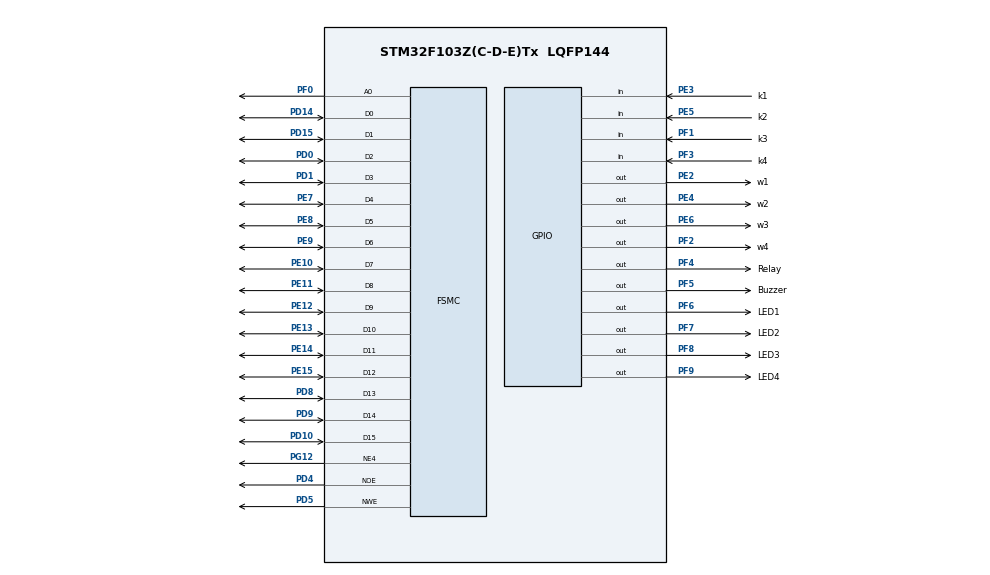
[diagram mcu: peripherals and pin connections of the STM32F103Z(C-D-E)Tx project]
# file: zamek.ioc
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FREERTOS.BinarySemaphores01=znak_licznik,Dynamic,NULL;Enter,Dynamic,NULL;SERWIS,Dynamic,NULL;PIN_tooShort,Dynamic,NULL;alarm,Dynamic,NULL;PIN_correct,Dynamic,NULL
FREERTOS.Queues01=PIN_znak,1,uint8_t,0,Dynamic,NULL,NULL
FREERTOS.Tasks01=defaultTask,0,128,StartDefaultTask,Default,NULL,Dynamic,NULL,NULL;wyswietlanie,2,128,StartTask02,Default,NULL,Dynamic,NULL,NULL;zarzadca,-3,128,StartTask03,Default,NULL,Dynamic,NULL,NULL;peryferia,-3,128,StartTask04,Default,NULL,Dynamic,NULL,NULL;serwis,-3,128,StartTask05,Default,NULL,Dynamic,NULL,NULL
FREERTOS.configENABLE_BACKWARD_COMPATIBILITY=0
FREERTOS.configIDLE_SHOULD_YIELD=0
FREERTOS.configTIMER_TASK_PRIORITY=1
FREERTOS.configTOTAL_HEAP_SIZE=4096
FREERTOS.configUSE_COUNTING_SEMAPHORES=1
FREERTOS.configUSE_PREEMPTION=0
FREERTOS.configUSE_TASK_NOTIFICATIONS=0
FREERTOS.configUSE_TIMERS=1
Mcu.Family=STM32F1
Mcu.Name=STM32F103Z(C-D-E)Tx
Mcu.Package=LQFP144
NVIC.PriorityGroup=NVIC_PRIORITYGROUP_4
NVIC.TIM6_IRQn=true\:5\:0\:false\:false\:true\:true\:true\:true\:true
OSC_IN.Mode=HSE-External-Oscillator
OSC_IN.Signal=RCC_OSC_IN
OSC_OUT.Mode=HSE-External-Oscillator
OSC_OUT.Signal=RCC_OSC_OUT
PA4.Signal=COMP_DAC1_group
PD0.Signal=FSMC_D2_DA2
PD1.Signal=FSMC_D3_DA3
PD10.Signal=FSMC_D15_DA15
PD14.Signal=FSMC_D0_DA0
PD15.Signal=FSMC_D1_DA1
PD4.Signal=FSMC_NOE
PD5.Signal=FSMC_NWE
PD8.Signal=FSMC_D13_DA13
PD9.Signal=FSMC_D14_DA14
PE10.Signal=FSMC_D7_DA7
PE11.Signal=FSMC_D8_DA8
PE12.Signal=FSMC_D9_DA9
PE13.Signal=FSMC_D10_DA10
PE14.Signal=FSMC_D11_DA11
PE15.Signal=FSMC_D12_DA12
PE2.GPIO_Label=w1
PE2.GPIO_ModeDefaultOutputPP=GPIO_MODE_OUTPUT_OD
PE2.GPIO_PuPd=GPIO_NOPULL
PE2.Signal=GPIO_Output
PE3.GPIO_Label=k1
PE3.GPIO_PuPd=GPIO_PULLUP
PE3.Signal=GPIO_Input
PE4.GPIO_Label=w2
PE4.GPIO_ModeDefaultOutputPP=GPIO_MODE_OUTPUT_OD
PE4.GPIO_PuPd=GPIO_NOPULL
PE4.Signal=GPIO_Output
PE5.GPIO_Label=k2
PE5.GPIO_PuPd=GPIO_PULLUP
PE5.Signal=GPIO_Input
PE6.GPIO_Label=w3
PE6.GPIO_ModeDefaultOutputPP=GPIO_MODE_OUTPUT_OD
PE6.GPIO_PuPd=GPIO_NOPULL
PE6.Signal=GPIO_Output
PE7.Signal=FSMC_D4_DA4
PE8.Signal=FSMC_D5_DA5
PE9.Signal=FSMC_D6_DA6
PF0.Signal=FSMC_A0
PF1.GPIO_Label=k3
PF1.GPIO_PuPd=GPIO_PULLUP
PF1.Signal=GPIO_Input
PF2.GPIO_Label=w4
PF2.GPIO_ModeDefaultOutputPP=GPIO_MODE_OUTPUT_OD
PF2.GPIO_PuPd=GPIO_NOPULL
PF2.Signal=GPIO_Output
PF3.GPIO_Label=k4
PF3.GPIO_PuPd=GPIO_PULLUP
PF3.Signal=GPIO_Input
PF4.GPIO_Label=Relay
PF4.GPIO_ModeDefaultOutputPP=GPIO_MODE_OUTPUT_OD
PF4.GPIO_PuPd=GPIO_NOPULL
PF4.PinState=GPIO_PIN_SET
PF4.Signal=GPIO_Output
PF5.GPIO_Label=Buzzer
PF5.Signal=GPIO_Output
PF6.GPIO_Label=LED1
PF6.Signal=GPIO_Output
PF7.GPIO_Label=LED2
PF7.Signal=GPIO_Output
PF8.GPIO_Label=LED3
PF8.Signal=GPIO_Output
PF9.GPIO_Label=LED4
PF9.Signal=GPIO_Output
PG12.Mode=NorPsramChipSelect4_3
PG12.Signal=FSMC_NE4
ProjectManager.HeapSize=0x200
ProjectManager.StackSize=0x400
ProjectManager.TargetToolchain=MDK-ARM V5.32
RCC.APB1Freq_Value=8000000
RCC.APB2Freq_Value=8000000
RCC.PLLSourceVirtual=RCC_PLLSOURCE_HSE
RCC.SYSCLKSource=RCC_SYSCLKSOURCE_HSE
RCC.USBFreq_Value=16000000
SH.COMP_DAC1_group.0=DAC_OUT1
SH.FSMC_A0.0=FSMC_A0,A0_3
SH.FSMC_D0_DA0.0=FSMC_D0,16b-d3
SH.FSMC_D10_DA10.0=FSMC_D10,16b-d3
SH.FSMC_D11_DA11.0=FSMC_D11,16b-d3
SH.FSMC_D12_DA12.0=FSMC_D12,16b-d3
SH.FSMC_D13_DA13.0=FSMC_D13,16b-d3
SH.FSMC_D14_DA14.0=FSMC_D14,16b-d3
SH.FSMC_D15_DA15.0=FSMC_D15,16b-d3
SH.FSMC_D1_DA1.0=FSMC_D1,16b-d3
SH.FSMC_D2_DA2.0=FSMC_D2,16b-d3
SH.FSMC_D3_DA3.0=FSMC_D3,16b-d3
SH.FSMC_D4_DA4.0=FSMC_D4,16b-d3
SH.FSMC_D5_DA5.0=FSMC_D5,16b-d3
SH.FSMC_D6_DA6.0=FSMC_D6,16b-d3
SH.FSMC_D7_DA7.0=FSMC_D7,16b-d3
SH.FSMC_D8_DA8.0=FSMC_D8,16b-d3
SH.FSMC_D9_DA9.0=FSMC_D9,16b-d3
SH.FSMC_NOE.0=FSMC_NOE,Lcd3
SH.FSMC_NWE.0=FSMC_NWE,Lcd3
TIM6.Period=7999
TIM6.Prescaler=9
VP_FREERTOS_VS_CMSIS_V1.Mode=CMSIS_V1
VP_SYS_VS_ND.Mode=No_Debug
VP_TIM6_VS_ClockSourceINT.Mode=Enable_Timer
board=custom

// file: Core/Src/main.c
/* USER CODE BEGIN Header */
/**
  ******************************************************************************
  * @file           : main.c
  * @brief          : Main program body
  ******************************************************************************
  * @attention
  *
  * Copyright (c) 2022 STMicroelectronics.
  * All rights reserved.
  *
  * This software is licensed under terms that can be found in the LICENSE file
  * in the root directory of this software component.
  * If no LICENSE file comes with this software, it is provided AS-IS.
  *
  ******************************************************************************
  */
/* USER CODE END Header */
#include "main.h"
#include "cmsis_os.h"

/* USER CODE BEGIN Includes */
#include "lcd.h"
#include "stdio.h"
#include "display_command.h"
#include "my_tasks.h"
/* USER CODE END Includes */

/* USER CODE BEGIN PD */
#define AccessTime 3000
/* USER CODE END PD */

TIM_HandleTypeDef htim6;

SRAM_HandleTypeDef hsram3;

osThreadId defaultTaskHandle;
osThreadId wyswietlanieHandle;
osThreadId zarzadcaHandle;
osThreadId peryferiaHandle;
osThreadId serwisHandle;
osMessageQId PIN_znakHandle;
osSemaphoreId znak_licznikHandle;
osSemaphoreId EnterHandle;
osSemaphoreId SERWISHandle;
osSemaphoreId PIN_tooShortHandle;
osSemaphoreId alarmHandle;
osSemaphoreId PIN_correctHandle;
/* USER CODE BEGIN PV */
osMessageQId PINHandle;
/* USER CODE END PV */

void SystemClock_Config(void);
static void MX_GPIO_Init(void);
static void MX_FSMC_Init(void);
static void MX_TIM6_Init(void);
void StartDefaultTask(void const * argument);
void StartTask02(void const * argument);
void StartTask03(void const * argument);
void StartTask04(void const * argument);
void StartTask05(void const * argument);

int main(void)
{

  /* MCU Configuration--------------------------------------------------------*/

  /* Reset of all peripherals, Initializes the Flash interface and the Systick. */
  HAL_Init();

  /* Configure the system clock */
  SystemClock_Config();

  /* Initialize all configured peripherals */
  MX_GPIO_Init();
  MX_FSMC_Init();
  MX_TIM6_Init();
  /* USER CODE BEGIN 2 */
	STM3210E_LCD_Init();
	LCD_SetBackColor(Black);
	LCD_SetTextColor(Green);
	HAL_TIM_Base_Start_IT(&htim6);
	HAL_TIM_Base_Start(&htim6);
  /* USER CODE END 2 */

  /* Create the semaphores(s) */
  /* definition and creation of znak_licznik */
  osSemaphoreDef(znak_licznik);
  znak_licznikHandle = osSemaphoreCreate(osSemaphore(znak_licznik), 1);

  /* definition and creation of Enter */
  osSemaphoreDef(Enter);
  EnterHandle = osSemaphoreCreate(osSemaphore(Enter), 1);

  /* definition and creation of SERWIS */
  osSemaphoreDef(SERWIS);
  SERWISHandle = osSemaphoreCreate(osSemaphore(SERWIS), 1);

  /* definition and creation of PIN_tooShort */
  osSemaphoreDef(PIN_tooShort);
  PIN_tooShortHandle = osSemaphoreCreate(osSemaphore(PIN_tooShort), 1);

  /* definition and creation of alarm */
  osSemaphoreDef(alarm);
  alarmHandle = osSemaphoreCreate(osSemaphore(alarm), 1);

  /* definition and creation of PIN_correct */
  osSemaphoreDef(PIN_correct);
  PIN_correctHandle = osSemaphoreCreate(osSemaphore(PIN_correct), 1);

  /* Create the queue(s) */
  /* definition and creation of PIN_znak */
  osMessageQDef(PIN_znak, 1, uint8_t);
  PIN_znakHandle = osMessageCreate(osMessageQ(PIN_znak), NULL);

  /* USER CODE BEGIN RTOS_QUEUES */
  /* add queues, ... */
	xSemaphoreTake(EnterHandle, NULL);
	xSemaphoreTake(PIN_tooShortHandle, NULL);
	xSemaphoreTake(alarmHandle, NULL);
	xSemaphoreTake( SERWISHandle, NULL );
	xSemaphoreTake(PIN_correctHandle, NULL);

	osMessageQDef(PIN, 2, 4*sizeof(uint8_t));
	PINHandle = osMessageCreate(osMessageQ(PIN), NULL);
  /* USER CODE END RTOS_QUEUES */

  /* Create the thread(s) */
  /* definition and creation of defaultTask */
  osThreadDef(defaultTask, StartDefaultTask, osPriorityNormal, 0, 128);
  defaultTaskHandle = osThreadCreate(osThread(defaultTask), NULL);

  /* definition and creation of wyswietlanie */
  osThreadDef(wyswietlanie, StartTask02, osPriorityHigh, 0, 128);
  wyswietlanieHandle = osThreadCreate(osThread(wyswietlanie), NULL);

  /* definition and creation of zarzadca */
  osThreadDef(zarzadca, StartTask03, osPriorityIdle, 0, 128);
  zarzadcaHandle = osThreadCreate(osThread(zarzadca), NULL);

  /* definition and creation of peryferia */
  osThreadDef(peryferia, StartTask04, osPriorityIdle, 0, 128);
  peryferiaHandle = osThreadCreate(osThread(peryferia), NULL);

  /* definition and creation of serwis */
  osThreadDef(serwis, StartTask05, osPriorityIdle, 0, 128);
  serwisHandle = osThreadCreate(osThread(serwis), NULL);

  /* Start scheduler */
  osKernelStart();

  /* We should never get here as control is now taken by the scheduler */
  /* Infinite loop */
  while (1)
  {

  }
}

void SystemClock_Config(void)
{
  RCC_OscInitTypeDef RCC_OscInitStruct = {0};
  RCC_ClkInitTypeDef RCC_ClkInitStruct = {0};

  /** Initializes the RCC Oscillators according to the specified parameters
  * in the RCC_OscInitTypeDef structure.
  */
  RCC_OscInitStruct.OscillatorType = RCC_OSCILLATORTYPE_HSE;
  RCC_OscInitStruct.HSEState = RCC_HSE_ON;
  RCC_OscInitStruct.PLL.PLLState = RCC_PLL_NONE;
  if (HAL_RCC_OscConfig(&RCC_OscInitStruct) != HAL_OK)
  {
    Error_Handler();
  }

  /** Initializes the CPU, AHB and APB buses clocks
  */
  RCC_ClkInitStruct.ClockType = RCC_CLOCKTYPE_HCLK|RCC_CLOCKTYPE_SYSCLK
                              |RCC_CLOCKTYPE_PCLK1|RCC_CLOCKTYPE_PCLK2;
  RCC_ClkInitStruct.SYSCLKSource = RCC_SYSCLKSOURCE_HSE;
  RCC_ClkInitStruct.AHBCLKDivider = RCC_SYSCLK_DIV1;
  RCC_ClkInitStruct.APB1CLKDivider = RCC_HCLK_DIV1;
  RCC_ClkInitStruct.APB2CLKDivider = RCC_HCLK_DIV1;

  if (HAL_RCC_ClockConfig(&RCC_ClkInitStruct, FLASH_LATENCY_0) != HAL_OK)
  {
    Error_Handler();
  }
}

static void MX_TIM6_Init(void)
{

  TIM_MasterConfigTypeDef sMasterConfig = {0};

  htim6.Instance = TIM6;
  htim6.Init.Prescaler = 9;
  htim6.Init.CounterMode = TIM_COUNTERMODE_UP;
  htim6.Init.Period = 7999;
  htim6.Init.AutoReloadPreload = TIM_AUTORELOAD_PRELOAD_DISABLE;
  if (HAL_TIM_Base_Init(&htim6) != HAL_OK)
  {
    Error_Handler();
  }
  sMasterConfig.MasterOutputTrigger = TIM_TRGO_RESET;
  sMasterConfig.MasterSlaveMode = TIM_MASTERSLAVEMODE_DISABLE;
  if (HAL_TIMEx_MasterConfigSynchronization(&htim6, &sMasterConfig) != HAL_OK)
  {
    Error_Handler();
  }

}

static void MX_GPIO_Init(void)
{
  GPIO_InitTypeDef GPIO_InitStruct = {0};

  /* GPIO Ports Clock Enable */
  __HAL_RCC_GPIOE_CLK_ENABLE();
  __HAL_RCC_GPIOF_CLK_ENABLE();
  __HAL_RCC_GPIOA_CLK_ENABLE();
  __HAL_RCC_GPIOD_CLK_ENABLE();
  __HAL_RCC_GPIOG_CLK_ENABLE();

  /*Configure GPIO pin Output Level */
  HAL_GPIO_WritePin(GPIOE, w1_Pin|w2_Pin|w3_Pin, GPIO_PIN_RESET);

  /*Configure GPIO pin Output Level */
  HAL_GPIO_WritePin(GPIOF, w4_Pin|Buzzer_Pin|LED1_Pin|LED2_Pin
                          |LED3_Pin|LED4_Pin, GPIO_PIN_RESET);

  /*Configure GPIO pin Output Level */
  HAL_GPIO_WritePin(Relay_GPIO_Port, Relay_Pin, GPIO_PIN_SET);

  /*Configure GPIO pins : w1_Pin w2_Pin w3_Pin */
  GPIO_InitStruct.Pin = w1_Pin|w2_Pin|w3_Pin;
  GPIO_InitStruct.Mode = GPIO_MODE_OUTPUT_OD;
  GPIO_InitStruct.Pull = GPIO_NOPULL;
  GPIO_InitStruct.Speed = GPIO_SPEED_FREQ_LOW;
  HAL_GPIO_Init(GPIOE, &GPIO_InitStruct);

  /*Configure GPIO pins : k1_Pin k2_Pin */
  GPIO_InitStruct.Pin = k1_Pin|k2_Pin;
  GPIO_InitStruct.Mode = GPIO_MODE_INPUT;
  GPIO_InitStruct.Pull = GPIO_PULLUP;
  HAL_GPIO_Init(GPIOE, &GPIO_InitStruct);

  /*Configure GPIO pins : k3_Pin k4_Pin */
  GPIO_InitStruct.Pin = k3_Pin|k4_Pin;
  GPIO_InitStruct.Mode = GPIO_MODE_INPUT;
  GPIO_InitStruct.Pull = GPIO_PULLUP;
  HAL_GPIO_Init(GPIOF, &GPIO_InitStruct);

  /*Configure GPIO pins : w4_Pin Relay_Pin */
  GPIO_InitStruct.Pin = w4_Pin|Relay_Pin;
  GPIO_InitStruct.Mode = GPIO_MODE_OUTPUT_OD;
  GPIO_InitStruct.Pull = GPIO_NOPULL;
  GPIO_InitStruct.Speed = GPIO_SPEED_FREQ_LOW;
  HAL_GPIO_Init(GPIOF, &GPIO_InitStruct);

  /*Configure GPIO pins : Buzzer_Pin LED1_Pin LED2_Pin LED3_Pin
                           LED4_Pin */
  GPIO_InitStruct.Pin = Buzzer_Pin|LED1_Pin|LED2_Pin|LED3_Pin
                          |LED4_Pin;
  GPIO_InitStruct.Mode = GPIO_MODE_OUTPUT_PP;
  GPIO_InitStruct.Pull = GPIO_NOPULL;
  GPIO_InitStruct.Speed = GPIO_SPEED_FREQ_LOW;
  HAL_GPIO_Init(GPIOF, &GPIO_InitStruct);

  /*Configure GPIO pin : PA4 */
  GPIO_InitStruct.Pin = GPIO_PIN_4;
  GPIO_InitStruct.Mode = GPIO_MODE_ANALOG;
  HAL_GPIO_Init(GPIOA, &GPIO_InitStruct);

}

/* FSMC initialization function */
static void MX_FSMC_Init(void)
{

  FSMC_NORSRAM_TimingTypeDef Timing = {0};

  /** Perform the SRAM3 memory initialization sequence
  */
  hsram3.Instance = FSMC_NORSRAM_DEVICE;
  hsram3.Extended = FSMC_NORSRAM_EXTENDED_DEVICE;
  /* hsram3.Init */
  hsram3.Init.NSBank = FSMC_NORSRAM_BANK4;
  hsram3.Init.DataAddressMux = FSMC_DATA_ADDRESS_MUX_DISABLE;
  hsram3.Init.MemoryType = FSMC_MEMORY_TYPE_SRAM;
  hsram3.Init.MemoryDataWidth = FSMC_NORSRAM_MEM_BUS_WIDTH_16;
  hsram3.Init.BurstAccessMode = FSMC_BURST_ACCESS_MODE_DISABLE;
  hsram3.Init.WaitSignalPolarity = FSMC_WAIT_SIGNAL_POLARITY_LOW;
  hsram3.Init.WrapMode = FSMC_WRAP_MODE_DISABLE;
  hsram3.Init.WaitSignalActive = FSMC_WAIT_TIMING_BEFORE_WS;
  hsram3.Init.WriteOperation = FSMC_WRITE_OPERATION_ENABLE;
  hsram3.Init.WaitSignal = FSMC_WAIT_SIGNAL_DISABLE;
  hsram3.Init.ExtendedMode = FSMC_EXTENDED_MODE_DISABLE;
  hsram3.Init.AsynchronousWait = FSMC_ASYNCHRONOUS_WAIT_DISABLE;
  hsram3.Init.WriteBurst = FSMC_WRITE_BURST_DISABLE;
  /* Timing */
  Timing.AddressSetupTime = 0;
  Timing.AddressHoldTime = 0;
  Timing.DataSetupTime = 2;
  Timing.BusTurnAroundDuration = 0;
  Timing.CLKDivision = 0;
  Timing.DataLatency = 0;
  Timing.AccessMode = FSMC_ACCESS_MODE_A;
  /* ExtTiming */

  if (HAL_SRAM_Init(&hsram3, &Timing, NULL) != HAL_OK)
  {
    Error_Handler( );
  }

  /** Disconnect NADV
  */

  __HAL_AFIO_FSMCNADV_DISCONNECTED();

}

void StartDefaultTask(void const * argument)
{
  for(;;)
  {
    osDelay(1);
  }
}

void Error_Handler(void)
{
  __disable_irq();
  while (1)
  {
  }
}
